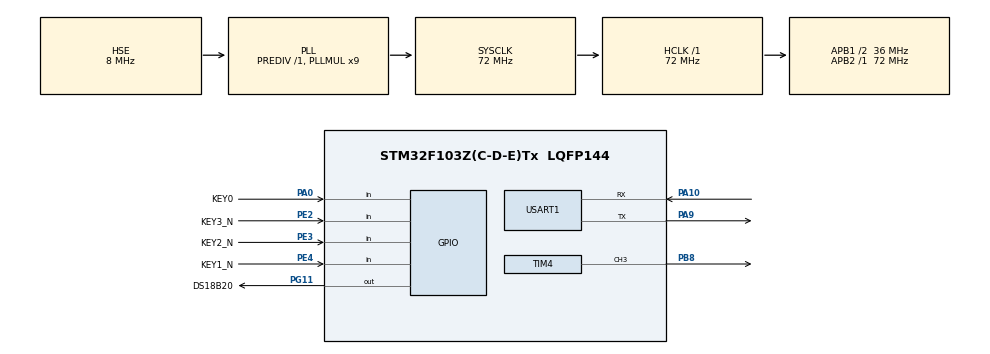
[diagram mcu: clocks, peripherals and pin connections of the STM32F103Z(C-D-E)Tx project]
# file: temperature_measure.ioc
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Dma.Request0=USART1_RX
Dma.Request1=USART1_TX
Dma.USART1_RX.0.Direction=DMA_PERIPH_TO_MEMORY
Dma.USART1_RX.0.Instance=DMA1_Channel5
Dma.USART1_RX.0.MemDataAlignment=DMA_MDATAALIGN_BYTE
Dma.USART1_RX.0.MemInc=DMA_MINC_ENABLE
Dma.USART1_RX.0.Mode=DMA_NORMAL
Dma.USART1_RX.0.PeriphDataAlignment=DMA_PDATAALIGN_BYTE
Dma.USART1_RX.0.PeriphInc=DMA_PINC_DISABLE
Dma.USART1_RX.0.Priority=DMA_PRIORITY_LOW
Dma.USART1_TX.1.Direction=DMA_MEMORY_TO_PERIPH
Dma.USART1_TX.1.Instance=DMA1_Channel4
Dma.USART1_TX.1.MemDataAlignment=DMA_MDATAALIGN_BYTE
Dma.USART1_TX.1.MemInc=DMA_MINC_ENABLE
Dma.USART1_TX.1.Mode=DMA_NORMAL
Dma.USART1_TX.1.PeriphDataAlignment=DMA_PDATAALIGN_BYTE
Dma.USART1_TX.1.PeriphInc=DMA_PINC_DISABLE
Dma.USART1_TX.1.Priority=DMA_PRIORITY_LOW
FREERTOS.Tasks01=defaultTask,24,128,StartDefaultTask,Default,NULL,Dynamic,NULL,NULL
Mcu.Family=STM32F1
Mcu.Name=STM32F103Z(C-D-E)Tx
Mcu.Package=LQFP144
NVIC.DMA1_Channel4_IRQn=true\:5\:0\:false\:false\:true\:true\:false\:true\:true
NVIC.DMA1_Channel5_IRQn=true\:5\:0\:false\:false\:true\:true\:false\:true\:true
NVIC.PriorityGroup=NVIC_PRIORITYGROUP_4
NVIC.TIM7_IRQn=true\:15\:0\:false\:false\:true\:false\:false\:true\:true
NVIC.TimeBase=TIM7_IRQn
NVIC.TimeBaseIP=TIM7
NVIC.USART1_IRQn=true\:5\:0\:false\:false\:true\:true\:true\:true\:true
OSC_IN.Mode=HSE-External-Oscillator
OSC_IN.Signal=RCC_OSC_IN
OSC_OUT.Mode=HSE-External-Oscillator
OSC_OUT.Signal=RCC_OSC_OUT
PA0-WKUP.GPIO_Label=KEY0
PA0-WKUP.GPIO_PuPd=GPIO_PULLDOWN
PA0-WKUP.Signal=GPIO_Input
PA10.Mode=Asynchronous
PA10.Signal=USART1_RX
PA13.Mode=Serial_Wire
PA13.Signal=SYS_JTMS-SWDIO
PA14.Mode=Serial_Wire
PA14.Signal=SYS_JTCK-SWCLK
PA9.Mode=Asynchronous
PA9.Signal=USART1_TX
PB8.Signal=S_TIM4_CH3
PC14-OSC32_IN.Mode=LSE-External-Oscillator
PC14-OSC32_IN.Signal=RCC_OSC32_IN
PC15-OSC32_OUT.Mode=LSE-External-Oscillator
PC15-OSC32_OUT.Signal=RCC_OSC32_OUT
PE2.GPIO_Label=KEY3_N
PE2.Signal=GPIO_Input
PE3.GPIO_Label=KEY2_N
PE3.Signal=GPIO_Input
PE4.GPIO_Label=KEY1_N
PE4.Signal=GPIO_Input
PG11.GPIO_Label=DS18B20
PG11.GPIO_ModeDefaultOutputPP=GPIO_MODE_OUTPUT_OD
PG11.GPIO_PuPd=GPIO_NOPULL
PG11.Signal=GPIO_Output
ProjectManager.HeapSize=0x200
ProjectManager.StackSize=0x400
ProjectManager.TargetToolchain=CMake
RCC.AHBFreq_Value=72000000
RCC.APB1CLKDivider=RCC_HCLK_DIV2
RCC.APB1Freq_Value=36000000
RCC.APB1TimFreq_Value=72000000
RCC.APB2Freq_Value=72000000
RCC.APB2TimFreq_Value=72000000
RCC.EnbaleCSS=true
RCC.HCLKFreq_Value=72000000
RCC.PLLMUL=RCC_PLL_MUL9
RCC.PLLSourceVirtual=RCC_PLLSOURCE_HSE
RCC.RTCClockSelection=RCC_RTCCLKSOURCE_LSE
RCC.SYSCLKFreq_VALUE=72000000
RCC.SYSCLKSource=RCC_SYSCLKSOURCE_PLLCLK
RCC.USBFreq_Value=72000000
RTC.Format=RTC_FORMAT_BIN
SH.S_TIM4_CH3.0=TIM4_CH3,PWM Generation3 CH3
TIM4.AutoReloadPreload=TIM_AUTORELOAD_PRELOAD_ENABLE
TIM4.Channel-PWM\ Generation3\ CH3=TIM_CHANNEL_3
TIM4.CounterMode=TIM_COUNTERMODE_DOWN
TIM4.Period=270
TIM4.Prescaler=253
TIM4.Pulse-PWM\ Generation3\ CH3=135
USART1.VirtualMode=VM_ASYNC
VP_CRC_VS_CRC.Mode=CRC_Activate
VP_FREERTOS_VS_CMSIS_V2.Mode=CMSIS_V2
VP_RTC_VS_RTC_Activate.Mode=RTC_Enabled
VP_RTC_VS_RTC_Calendar.Mode=RTC_Calendar
VP_SYS_VS_tim7.Mode=TIM7
VP_TIM4_VS_ClockSourceINT.Mode=Internal
board=custom

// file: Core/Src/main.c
/* USER CODE BEGIN Header */
/**
  ******************************************************************************
  * @file           : main.c
  * @brief          : Main program body
  ******************************************************************************
  * @attention
  *
  * Copyright (c) 2025 STMicroelectronics.
  * All rights reserved.
  *
  * This software is licensed under terms that can be found in the LICENSE file
  * in the root directory of this software component.
  * If no LICENSE file comes with this software, it is provided AS-IS.
  *
  ******************************************************************************
  */
/* USER CODE END Header */
#include "main.h"
#include "cmsis_os.h"

/* USER CODE BEGIN Includes */
#include "communication.h"
#include "device_control.h"
#include "DS18B20.h"
/* USER CODE END Includes */

CRC_HandleTypeDef hcrc;

RTC_HandleTypeDef hrtc;

TIM_HandleTypeDef htim4;

UART_HandleTypeDef huart1;
DMA_HandleTypeDef hdma_usart1_rx;
DMA_HandleTypeDef hdma_usart1_tx;

/* Definitions for defaultTask */
osThreadId_t defaultTaskHandle;
const osThreadAttr_t defaultTask_attributes = {
  .name = "defaultTask",
  .stack_size = 128 * 4,
  .priority = (osPriority_t) osPriorityNormal,
};

void SystemClock_Config(void);
static void MX_GPIO_Init(void);
static void MX_DMA_Init(void);
static void MX_USART1_UART_Init(void);
static void MX_RTC_Init(void);
static void MX_CRC_Init(void);
static void MX_TIM4_Init(void);
void StartDefaultTask(void *argument);

int main(void)
{

  /* MCU Configuration--------------------------------------------------------*/

  /* Reset of all peripherals, Initializes the Flash interface and the Systick. */
  HAL_Init();

  /* Configure the system clock */
  SystemClock_Config();

  /* Initialize all configured peripherals */
  MX_GPIO_Init();
  MX_DMA_Init();
  MX_USART1_UART_Init();
  MX_RTC_Init();
  MX_CRC_Init();
  MX_TIM4_Init();  /* USER CODE BEGIN 2 */
  // 初始化通信模块
  communication_init();

  // 初始化设备控制模块（LED, 蜂鸣器等）
  led_init();
  buzzer_init();

  // 初始化温度传感器
  temperature_sensor_init();

  // 初始化报警系统
  alarm_init();

  // 初始化温度日志系统
  temp_log_init();
  /* USER CODE END 2 */

  /* Init scheduler */
  osKernelInitialize();

  /* Create the thread(s) */
  /* creation of defaultTask */
  defaultTaskHandle = osThreadNew(StartDefaultTask, NULL, &defaultTask_attributes);

  /* Start scheduler */
  osKernelStart();

  /* We should never get here as control is now taken by the scheduler */

  /* Infinite loop */
  while (1)
  {

  }
}

void SystemClock_Config(void)
{
  RCC_OscInitTypeDef RCC_OscInitStruct = {0};
  RCC_ClkInitTypeDef RCC_ClkInitStruct = {0};
  RCC_PeriphCLKInitTypeDef PeriphClkInit = {0};

  /** Initializes the RCC Oscillators according to the specified parameters
  * in the RCC_OscInitTypeDef structure.
  */
  RCC_OscInitStruct.OscillatorType = RCC_OSCILLATORTYPE_HSE|RCC_OSCILLATORTYPE_LSE;
  RCC_OscInitStruct.HSEState = RCC_HSE_ON;
  RCC_OscInitStruct.HSEPredivValue = RCC_HSE_PREDIV_DIV1;
  RCC_OscInitStruct.LSEState = RCC_LSE_ON;
  RCC_OscInitStruct.HSIState = RCC_HSI_ON;
  RCC_OscInitStruct.PLL.PLLState = RCC_PLL_ON;
  RCC_OscInitStruct.PLL.PLLSource = RCC_PLLSOURCE_HSE;
  RCC_OscInitStruct.PLL.PLLMUL = RCC_PLL_MUL9;
  if (HAL_RCC_OscConfig(&RCC_OscInitStruct) != HAL_OK)
  {
    Error_Handler();
  }

  /** Initializes the CPU, AHB and APB buses clocks
  */
  RCC_ClkInitStruct.ClockType = RCC_CLOCKTYPE_HCLK|RCC_CLOCKTYPE_SYSCLK
                              |RCC_CLOCKTYPE_PCLK1|RCC_CLOCKTYPE_PCLK2;
  RCC_ClkInitStruct.SYSCLKSource = RCC_SYSCLKSOURCE_PLLCLK;
  RCC_ClkInitStruct.AHBCLKDivider = RCC_SYSCLK_DIV1;
  RCC_ClkInitStruct.APB1CLKDivider = RCC_HCLK_DIV2;
  RCC_ClkInitStruct.APB2CLKDivider = RCC_HCLK_DIV1;

  if (HAL_RCC_ClockConfig(&RCC_ClkInitStruct, FLASH_LATENCY_2) != HAL_OK)
  {
    Error_Handler();
  }
  PeriphClkInit.PeriphClockSelection = RCC_PERIPHCLK_RTC;
  PeriphClkInit.RTCClockSelection = RCC_RTCCLKSOURCE_LSE;
  if (HAL_RCCEx_PeriphCLKConfig(&PeriphClkInit) != HAL_OK)
  {
    Error_Handler();
  }

  /** Enables the Clock Security System
  */
  HAL_RCC_EnableCSS();
}

static void MX_CRC_Init(void)
{

  hcrc.Instance = CRC;
  if (HAL_CRC_Init(&hcrc) != HAL_OK)
  {
    Error_Handler();
  }

}

static void MX_RTC_Init(void)
{

  RTC_TimeTypeDef sTime = {0};
  RTC_DateTypeDef DateToUpdate = {0};

  /** Initialize RTC Only
  */
  hrtc.Instance = RTC;
  hrtc.Init.AsynchPrediv = RTC_AUTO_1_SECOND;
  hrtc.Init.OutPut = RTC_OUTPUTSOURCE_ALARM;
  if (HAL_RTC_Init(&hrtc) != HAL_OK)
  {
    Error_Handler();
  }

  /** Initialize RTC and set the Time and Date
  */
  sTime.Hours = 0;
  sTime.Minutes = 0;
  sTime.Seconds = 0;

  if (HAL_RTC_SetTime(&hrtc, &sTime, RTC_FORMAT_BIN) != HAL_OK)
  {
    Error_Handler();
  }
  DateToUpdate.WeekDay = RTC_WEEKDAY_MONDAY;
  DateToUpdate.Month = RTC_MONTH_JANUARY;
  DateToUpdate.Date = 1;
  DateToUpdate.Year = 0;

  if (HAL_RTC_SetDate(&hrtc, &DateToUpdate, RTC_FORMAT_BIN) != HAL_OK)
  {
    Error_Handler();
  }

}

static void MX_TIM4_Init(void)
{

  TIM_ClockConfigTypeDef sClockSourceConfig = {0};
  TIM_MasterConfigTypeDef sMasterConfig = {0};
  TIM_OC_InitTypeDef sConfigOC = {0};

  htim4.Instance = TIM4;
  htim4.Init.Prescaler = 253;
  htim4.Init.CounterMode = TIM_COUNTERMODE_DOWN;
  htim4.Init.Period = 270;
  htim4.Init.ClockDivision = TIM_CLOCKDIVISION_DIV1;
  htim4.Init.AutoReloadPreload = TIM_AUTORELOAD_PRELOAD_ENABLE;
  if (HAL_TIM_Base_Init(&htim4) != HAL_OK)
  {
    Error_Handler();
  }
  sClockSourceConfig.ClockSource = TIM_CLOCKSOURCE_INTERNAL;
  if (HAL_TIM_ConfigClockSource(&htim4, &sClockSourceConfig) != HAL_OK)
  {
    Error_Handler();
  }
  if (HAL_TIM_PWM_Init(&htim4) != HAL_OK)
  {
    Error_Handler();
  }
  sMasterConfig.MasterOutputTrigger = TIM_TRGO_RESET;
  sMasterConfig.MasterSlaveMode = TIM_MASTERSLAVEMODE_DISABLE;
  if (HAL_TIMEx_MasterConfigSynchronization(&htim4, &sMasterConfig) != HAL_OK)
  {
    Error_Handler();
  }
  sConfigOC.OCMode = TIM_OCMODE_PWM1;
  sConfigOC.Pulse = 135;
  sConfigOC.OCPolarity = TIM_OCPOLARITY_HIGH;
  sConfigOC.OCFastMode = TIM_OCFAST_DISABLE;
  if (HAL_TIM_PWM_ConfigChannel(&htim4, &sConfigOC, TIM_CHANNEL_3) != HAL_OK)
  {
    Error_Handler();
  }
  HAL_TIM_MspPostInit(&htim4);

}

static void MX_USART1_UART_Init(void)
{

  huart1.Instance = USART1;
  huart1.Init.BaudRate = 115200;
  huart1.Init.WordLength = UART_WORDLENGTH_8B;
  huart1.Init.StopBits = UART_STOPBITS_1;
  huart1.Init.Parity = UART_PARITY_NONE;
  huart1.Init.Mode = UART_MODE_TX_RX;
  huart1.Init.HwFlowCtl = UART_HWCONTROL_NONE;
  huart1.Init.OverSampling = UART_OVERSAMPLING_16;
  if (HAL_UART_Init(&huart1) != HAL_OK)
  {
    Error_Handler();
  }

}

static void MX_DMA_Init(void)
{

  /* DMA controller clock enable */
  __HAL_RCC_DMA1_CLK_ENABLE();

  /* DMA interrupt init */
  /* DMA1_Channel4_IRQn interrupt configuration */
  HAL_NVIC_SetPriority(DMA1_Channel4_IRQn, 5, 0);
  HAL_NVIC_EnableIRQ(DMA1_Channel4_IRQn);
  /* DMA1_Channel5_IRQn interrupt configuration */
  HAL_NVIC_SetPriority(DMA1_Channel5_IRQn, 5, 0);
  HAL_NVIC_EnableIRQ(DMA1_Channel5_IRQn);

}

static void MX_GPIO_Init(void)
{
  GPIO_InitTypeDef GPIO_InitStruct = {0};

  /* GPIO Ports Clock Enable */
  __HAL_RCC_GPIOE_CLK_ENABLE();
  __HAL_RCC_GPIOC_CLK_ENABLE();
  __HAL_RCC_GPIOF_CLK_ENABLE();
  __HAL_RCC_GPIOA_CLK_ENABLE();
  __HAL_RCC_GPIOB_CLK_ENABLE();
  __HAL_RCC_GPIOG_CLK_ENABLE();
  __HAL_RCC_GPIOD_CLK_ENABLE();

  /*Configure GPIO pin Output Level */
  HAL_GPIO_WritePin(DS18B20_GPIO_Port, DS18B20_Pin, GPIO_PIN_RESET);

  /*Configure GPIO pins : KEY3_N_Pin KEY2_N_Pin KEY1_N_Pin */
  GPIO_InitStruct.Pin = KEY3_N_Pin|KEY2_N_Pin|KEY1_N_Pin;
  GPIO_InitStruct.Mode = GPIO_MODE_INPUT;
  GPIO_InitStruct.Pull = GPIO_NOPULL;
  HAL_GPIO_Init(GPIOE, &GPIO_InitStruct);

  /*Configure GPIO pins : PE5 PE6 PE7 PE8
                           PE9 PE10 PE11 PE12
                           PE13 PE14 PE15 PE0
                           PE1 */
  GPIO_InitStruct.Pin = GPIO_PIN_5|GPIO_PIN_6|GPIO_PIN_7|GPIO_PIN_8
                          |GPIO_PIN_9|GPIO_PIN_10|GPIO_PIN_11|GPIO_PIN_12
                          |GPIO_PIN_13|GPIO_PIN_14|GPIO_PIN_15|GPIO_PIN_0
                          |GPIO_PIN_1;
  GPIO_InitStruct.Mode = GPIO_MODE_ANALOG;
  HAL_GPIO_Init(GPIOE, &GPIO_InitStruct);

  /*Configure GPIO pins : PC13 PC0 PC1 PC2
                           PC3 PC4 PC5 PC6
                           PC7 PC8 PC9 PC10
                           PC11 PC12 */
  GPIO_InitStruct.Pin = GPIO_PIN_13|GPIO_PIN_0|GPIO_PIN_1|GPIO_PIN_2
                          |GPIO_PIN_3|GPIO_PIN_4|GPIO_PIN_5|GPIO_PIN_6
                          |GPIO_PIN_7|GPIO_PIN_8|GPIO_PIN_9|GPIO_PIN_10
                          |GPIO_PIN_11|GPIO_PIN_12;
  GPIO_InitStruct.Mode = GPIO_MODE_ANALOG;
  HAL_GPIO_Init(GPIOC, &GPIO_InitStruct);

  /*Configure GPIO pins : PF0 PF1 PF2 PF3
                           PF4 PF5 PF6 PF7
                           PF8 PF9 PF10 PF11
                           PF12 PF13 PF14 PF15 */
  GPIO_InitStruct.Pin = GPIO_PIN_0|GPIO_PIN_1|GPIO_PIN_2|GPIO_PIN_3
                          |GPIO_PIN_4|GPIO_PIN_5|GPIO_PIN_6|GPIO_PIN_7
                          |GPIO_PIN_8|GPIO_PIN_9|GPIO_PIN_10|GPIO_PIN_11
                          |GPIO_PIN_12|GPIO_PIN_13|GPIO_PIN_14|GPIO_PIN_15;
  GPIO_InitStruct.Mode = GPIO_MODE_ANALOG;
  HAL_GPIO_Init(GPIOF, &GPIO_InitStruct);

  /*Configure GPIO pin : KEY0_Pin */
  GPIO_InitStruct.Pin = KEY0_Pin;
  GPIO_InitStruct.Mode = GPIO_MODE_INPUT;
  GPIO_InitStruct.Pull = GPIO_PULLDOWN;
  HAL_GPIO_Init(KEY0_GPIO_Port, &GPIO_InitStruct);

  /*Configure GPIO pins : PA1 PA2 PA3 PA4
                           PA5 PA6 PA7 PA8
                           PA11 PA12 PA15 */
  GPIO_InitStruct.Pin = GPIO_PIN_1|GPIO_PIN_2|GPIO_PIN_3|GPIO_PIN_4
                          |GPIO_PIN_5|GPIO_PIN_6|GPIO_PIN_7|GPIO_PIN_8
                          |GPIO_PIN_11|GPIO_PIN_12|GPIO_PIN_15;
  GPIO_InitStruct.Mode = GPIO_MODE_ANALOG;
  HAL_GPIO_Init(GPIOA, &GPIO_InitStruct);

  /*Configure GPIO pins : PB0 PB1 PB2 PB10
                           PB11 PB12 PB13 PB14
                           PB15 PB3 PB4 PB5
                           PB6 PB7 PB9 */
  GPIO_InitStruct.Pin = GPIO_PIN_0|GPIO_PIN_1|GPIO_PIN_2|GPIO_PIN_10
                          |GPIO_PIN_11|GPIO_PIN_12|GPIO_PIN_13|GPIO_PIN_14
                          |GPIO_PIN_15|GPIO_PIN_3|GPIO_PIN_4|GPIO_PIN_5
                          |GPIO_PIN_6|GPIO_PIN_7|GPIO_PIN_9;
  GPIO_InitStruct.Mode = GPIO_MODE_ANALOG;
  HAL_GPIO_Init(GPIOB, &GPIO_InitStruct);

  /*Configure GPIO pins : PG0 PG1 PG2 PG3
                           PG4 PG5 PG6 PG7
                           PG8 PG9 PG10 PG12
                           PG13 PG14 PG15 */
  GPIO_InitStruct.Pin = GPIO_PIN_0|GPIO_PIN_1|GPIO_PIN_2|GPIO_PIN_3
                          |GPIO_PIN_4|GPIO_PIN_5|GPIO_PIN_6|GPIO_PIN_7
                          |GPIO_PIN_8|GPIO_PIN_9|GPIO_PIN_10|GPIO_PIN_12
                          |GPIO_PIN_13|GPIO_PIN_14|GPIO_PIN_15;
  GPIO_InitStruct.Mode = GPIO_MODE_ANALOG;
  HAL_GPIO_Init(GPIOG, &GPIO_InitStruct);

  /*Configure GPIO pins : PD8 PD9 PD10 PD11
                           PD12 PD13 PD14 PD15
                           PD0 PD1 PD2 PD3
                           PD4 PD5 PD6 PD7 */
  GPIO_InitStruct.Pin = GPIO_PIN_8|GPIO_PIN_9|GPIO_PIN_10|GPIO_PIN_11
                          |GPIO_PIN_12|GPIO_PIN_13|GPIO_PIN_14|GPIO_PIN_15
                          |GPIO_PIN_0|GPIO_PIN_1|GPIO_PIN_2|GPIO_PIN_3
                          |GPIO_PIN_4|GPIO_PIN_5|GPIO_PIN_6|GPIO_PIN_7;
  GPIO_InitStruct.Mode = GPIO_MODE_ANALOG;
  HAL_GPIO_Init(GPIOD, &GPIO_InitStruct);

  /*Configure GPIO pin : DS18B20_Pin */
  GPIO_InitStruct.Pin = DS18B20_Pin;
  GPIO_InitStruct.Mode = GPIO_MODE_OUTPUT_OD;
  GPIO_InitStruct.Pull = GPIO_NOPULL;
  GPIO_InitStruct.Speed = GPIO_SPEED_FREQ_LOW;
  HAL_GPIO_Init(DS18B20_GPIO_Port, &GPIO_InitStruct);

}

/* USER CODE BEGIN 4 */

// UART接收完成回调函数
void HAL_UART_RxCpltCallback(UART_HandleTypeDef *huart) {
    if (huart->Instance == USART1) {
        communication_rx_complete_callback();
    }
}

// UART发送完成回调函数
void HAL_UART_TxCpltCallback(UART_HandleTypeDef *huart) {
    if (huart->Instance == USART1) {
        communication_tx_complete_callback();
    }
}

// UART错误回调函数
void HAL_UART_ErrorCallback(UART_HandleTypeDef *huart) {
    if (huart->Instance == USART1) {
        communication_error_callback();
    }
}

/* USER CODE END 4 */

void StartDefaultTask(void *argument)
{
  /* USER CODE BEGIN 5 */
  /* Infinite loop */
  for(;;)
  {
    // 运行通信任务
    communication_task();

    // 检查蜂鸣器状态（处理定时蜂鸣）
    buzzer_get_state();

    // 短暂延时
    osDelay(10);
  }
  /* USER CODE END 5 */
}

void HAL_TIM_PeriodElapsedCallback(TIM_HandleTypeDef *htim)
{
  if (htim->Instance == TIM7) {
    HAL_IncTick();
  }
}

void Error_Handler(void)
{
  __disable_irq();
  while (1)
  {
  }
}
